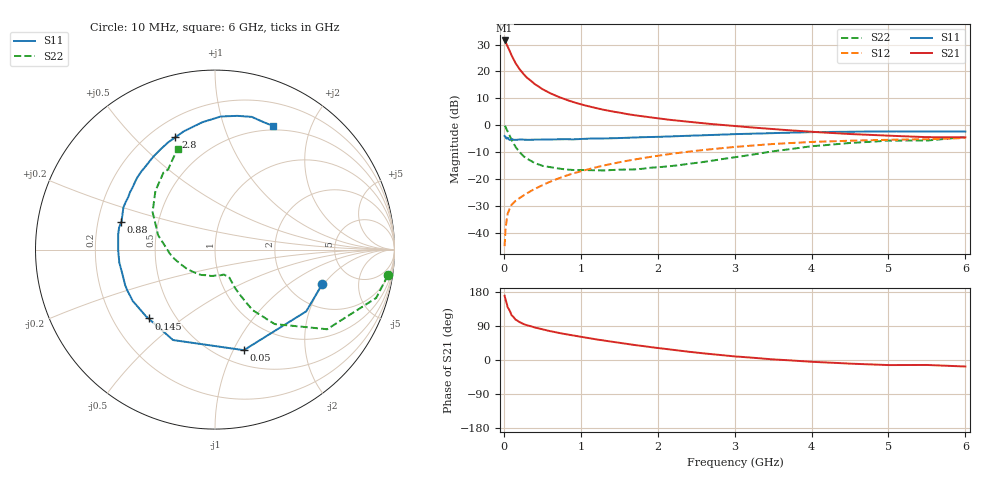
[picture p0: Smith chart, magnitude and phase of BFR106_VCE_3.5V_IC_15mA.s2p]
! Infineon Technologies  Discrete & RF Semiconductors
! BFR106
! VCE =  3.5 V,  IC =  15 mA
! Common Emitter S-Parameters:  Nov 2015
# GHz  S  MA  R  50
!  f  S11  S21  S12  S22
! GHz  MAG  ANG  MAG  ANG  MAG  ANG  MAG  ANG
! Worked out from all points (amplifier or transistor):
!   210 points, 10 MHz to 6 GHz, reference 50 ohm
!   highest |S21| = 31.5 dB at 10 MHz (marker M1)
!   |S21| within 3 dB of that: start of sweep to 61.85 MHz
!   unconditionally stable (mu >= 1): 417 MHz to 2.173 GHz; 5.31 GHz to end of sweep
!   at 185 MHz: K = 0.69, MSG = 24.6 dB, |S12| = -27.5 dB
!   at 1.52 GHz: K = 1.07, MAG = 7.6 dB, |S12| = -13.7 dB
!   at 6 GHz: K = 1.01, MAG = -0.3 dB, |S12| = -4.8 dB
!   S11 on the Smith chart (normalised r, x): 10 MHz: 3.07, -1.93; 50 MHz: 0.65, -1.10; 145 MHz: 0.35, -0.38; 880 MHz: 0.30, +0.13; 2.8 GHz: 0.30, +0.67; 6 GHz: 0.45, +1.47
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0.01  0.6281 -17.6  37.68 169.4  0.0056 84.1  0.9732 -8.5
0.02  0.6138 -34.1  36.13 160.9  0.0107 78.1  0.9376 -16.7
0.05  0.5829 -74.0  29.11 138.8  0.0226 61.1  0.7661 -35.4
0.1  0.5555 -114.9  19.87 118.4  0.0329 52.2  0.5316 -51.3
0.145  0.5333 -134.0  14.89 108.4  0.0382 49.8  0.409 -57.3
0.15  0.5346 -136.2  14.37 106.9  0.0388 49.6  0.3958 -58.2
0.2  0.5404 -148.1  11.22 100.4  0.0436 51.3  0.3206 -60.2
0.24  0.5389 -155.5  9.509 96.4  0.0476 52.9  0.2782 -61.3
0.3  0.5338 -163.3  7.66 91.7  0.0538 55.8  0.2383 -62.5
0.4  0.538 -172.3  5.829 85.8  0.0649 58.8  0.1975 -62.7
0.5  0.5392 -179.0  4.692 80.8  0.0761 61.1  0.1755 -62.9
0.6  0.5411 175.7  3.945 76.2  0.0884 62.6  0.1648 -64.4
0.7  0.5459 171.0  3.415 72.0  0.1006 63.4  0.157 -67.2
0.88  0.5448 163.8  2.751 65.5  0.1238 63.4  0.1472 -71.3
1.02  0.554 158.3  2.402 60.5  0.141 63.3  0.1465 -76.3
1.4  0.5712 146.0  1.805 48.4  0.1904 60.9  0.1466 -92.9
2.02  0.6068 128.6  1.325 31.1  0.2716 53.8  0.1654 -125.8
2.8  0.6635 109.4  1.021 13.5  0.3693 42.7  0.2304 -166.5
3.1  0.6861 103.0  0.937 8.1  0.403 37.9  0.2647 -179.6
4.1  0.7441 86.1  0.738 -5.6  0.492 21.9  0.4158 146.0
5.1  0.7652 73.4  0.629 -13.3  0.5369 8.0  0.5162 123.1
6  0.761 65.0  0.594 -17.2  0.5778 -2.4  0.6004 110.3
